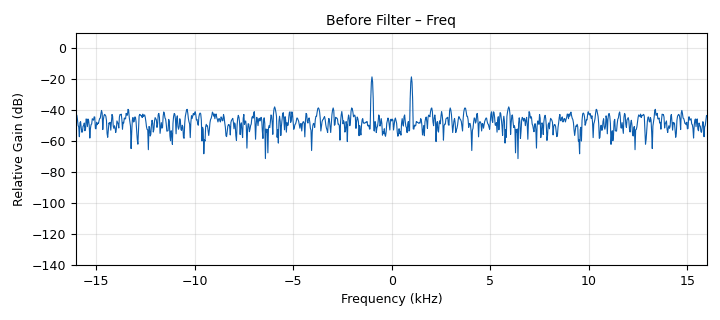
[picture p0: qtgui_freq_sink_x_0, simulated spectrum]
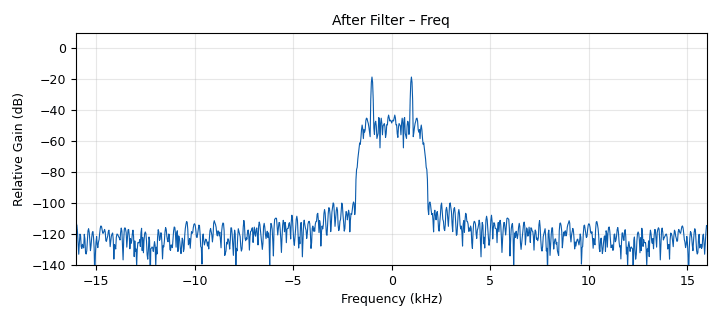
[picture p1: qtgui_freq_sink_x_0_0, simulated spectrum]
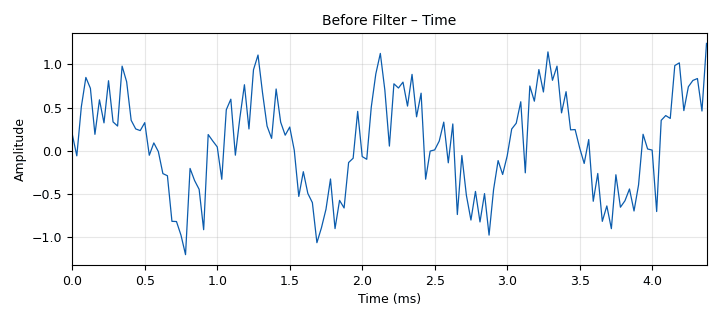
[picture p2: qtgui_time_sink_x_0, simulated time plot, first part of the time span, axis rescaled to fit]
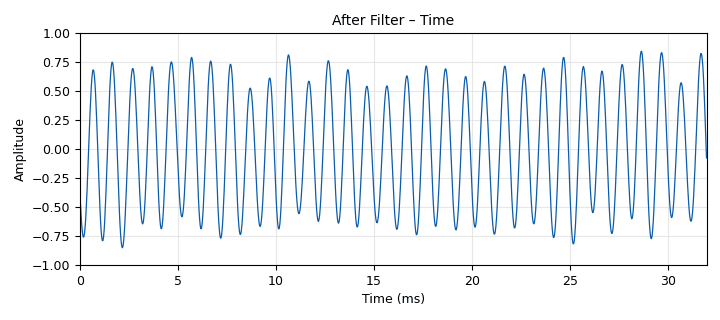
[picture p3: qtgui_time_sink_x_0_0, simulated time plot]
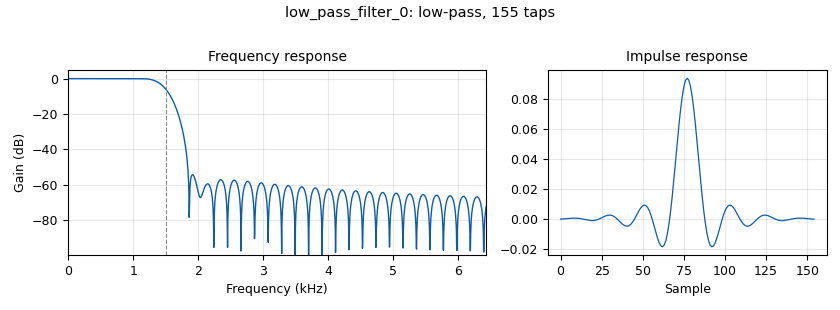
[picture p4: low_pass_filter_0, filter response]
options:
  parameters:
    generate_options: qt_gui
    id: variable_type
    output_language: python
    title: Variable
  states: {}

blocks:
- name: cut_off
  id: variable_qtgui_range
  parameters:
    start: '500'
    step: '100'
    stop: '6000'
    value: '1500'
    widget: slider
  states: {}
- name: samp_rate
  id: variable
  parameters:
    value: '32000'
  states: {}
- name: tone_freq
  id: variable_qtgui_range
  parameters:
    start: '200'
    step: '100'
    stop: '2000'
    value: '1000'
    widget: slider
  states: {}
- name: analog_noise_source_x_0
  id: analog_noise_source_x
  parameters:
    amp: '0.3'
    noise_type: analog.GR_GAUSSIAN
    seed: '0'
    type: float
  states: {}
- name: analog_sig_source_x_0
  id: analog_sig_source_x
  parameters:
    amp: '0.7'
    freq: tone_freq
    offset: '0'
    phase: '0'
    samp_rate: samp_rate
    type: float
    waveform: analog.GR_SIN_WAVE
  states: {}
- name: blocks_add_xx_0
  id: blocks_add_xx
  parameters:
    type: float
  states: {}
- name: low_pass_filter_0
  id: low_pass_filter
  parameters:
    cutoff_freq: cut_off
    decim: '1'
    gain: '1'
    samp_rate: samp_rate
    type: fir_filter_fff
    width: '500'
    win: window.WIN_HAMMING
  states: {}
- name: qtgui_freq_sink_x_0
  id: qtgui_freq_sink_x
  parameters:
    bw: samp_rate
    fc: '0'
    fftsize: '1024'
    name: '"Before Filter – Freq"'
    type: float
  states: {}
- name: qtgui_freq_sink_x_0_0
  id: qtgui_freq_sink_x
  parameters:
    bw: samp_rate
    fc: '0'
    fftsize: '1024'
    name: '"After Filter – Freq"'
    type: float
  states: {}
- name: qtgui_time_sink_x_0
  id: qtgui_time_sink_x
  parameters:
    name: '"Before Filter – Time"'
    size: '1024'
    srate: samp_rate
    type: float
  states: {}
- name: qtgui_time_sink_x_0_0
  id: qtgui_time_sink_x
  parameters:
    name: '"After Filter – Time"'
    size: '1024'
    srate: samp_rate
    type: float
  states: {}

connections:
- [analog_noise_source_x_0, '0', blocks_add_xx_0, '1']
- [analog_sig_source_x_0, '0', blocks_add_xx_0, '0']
- [blocks_add_xx_0, '0', low_pass_filter_0, '0']
- [blocks_add_xx_0, '0', qtgui_freq_sink_x_0, '0']
- [blocks_add_xx_0, '0', qtgui_time_sink_x_0, '0']
- [low_pass_filter_0, '0', qtgui_freq_sink_x_0_0, '0']
- [low_pass_filter_0, '0', qtgui_time_sink_x_0_0, '0']

metadata:
  file_format: 1
  grc_version: 3.10.12.0
